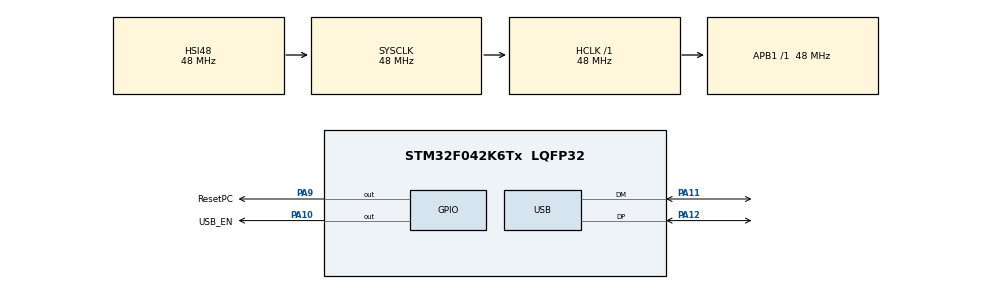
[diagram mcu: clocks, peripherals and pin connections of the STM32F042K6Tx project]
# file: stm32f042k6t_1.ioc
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Mcu.Family=STM32F0
Mcu.Name=STM32F042K6Tx
Mcu.Package=LQFP32
NVIC.USB_IRQn=true\:0\:0\:false\:false\:true
PA10.GPIO_Label=USB_EN
PA10.Signal=GPIO_Output
PA11.Mode=Device
PA11.Signal=USB_DM
PA12.Mode=Device
PA12.Signal=USB_DP
PA13.Mode=Serial_Wire
PA13.Signal=SYS_SWDIO
PA14.Mode=Serial_Wire
PA14.Signal=SYS_SWCLK
PA9.GPIO_Label=ResetPC
PA9.Signal=GPIO_Output
ProjectManager.HeapSize=0x200
ProjectManager.StackSize=0x400
ProjectManager.TargetToolchain=MDK-ARM V5
RCC.AHBFreq_Value=48000000
RCC.APB1Freq_Value=48000000
RCC.APB1TimFreq_Value=48000000
RCC.HCLKFreq_Value=48000000
RCC.SYSCLKFreq_VALUE=48000000
RCC.SYSCLKSource=RCC_SYSCLKSOURCE_HSI48
USB_DEVICE.CLASS_NAME_FS=CDC
USB_DEVICE.VirtualMode=Cdc
USB_DEVICE.VirtualModeFS=Cdc_FS
VP_USB_DEVICE_VS_USB_DEVICE_CDC_FS.Mode=CDC_FS
board=stm32f042k6t_1

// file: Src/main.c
/**
  ******************************************************************************
  * File Name          : main.c
  * Description        : Main program body
  ******************************************************************************
  * This notice applies to any and all portions of this file
  * that are not between comment pairs USER CODE BEGIN and
  * USER CODE END. Other portions of this file, whether
  * inserted by the user or by software development tools
  * are owned by their respective copyright owners.
  *
  * Copyright (c) 2018 STMicroelectronics International N.V.
  * All rights reserved.
  *
  * Redistribution and use in source and binary forms, with or without
  * modification, are permitted, provided that the following conditions are met:
  *
  * 1. Redistribution of source code must retain the above copyright notice,
  *    this list of conditions and the following disclaimer.
  * 2. Redistributions in binary form must reproduce the above copyright notice,
  *    this list of conditions and the following disclaimer in the documentation
  *    and/or other materials provided with the distribution.
  * 3. Neither the name of STMicroelectronics nor the names of other
  *    contributors to this software may be used to endorse or promote products
  *    derived from this software without specific written permission.
  * 4. This software, including modifications and/or derivative works of this
  *    software, must execute solely and exclusively on microcontroller or
  *    microprocessor devices manufactured by or for STMicroelectronics.
  * 5. Redistribution and use of this software other than as permitted under
  *    this license is void and will automatically terminate your rights under
  *    this license.
  *
  * THIS SOFTWARE IS PROVIDED BY STMICROELECTRONICS AND CONTRIBUTORS "AS IS"
  * AND ANY EXPRESS, IMPLIED OR STATUTORY WARRANTIES, INCLUDING, BUT NOT
  * LIMITED TO, THE IMPLIED WARRANTIES OF MERCHANTABILITY, FITNESS FOR A
  * PARTICULAR PURPOSE AND NON-INFRINGEMENT OF THIRD PARTY INTELLECTUAL PROPERTY
  * RIGHTS ARE DISCLAIMED TO THE FULLEST EXTENT PERMITTED BY LAW. IN NO EVENT
  * SHALL STMICROELECTRONICS OR CONTRIBUTORS BE LIABLE FOR ANY DIRECT, INDIRECT,
  * INCIDENTAL, SPECIAL, EXEMPLARY, OR CONSEQUENTIAL DAMAGES (INCLUDING, BUT NOT
  * LIMITED TO, PROCUREMENT OF SUBSTITUTE GOODS OR SERVICES; LOSS OF USE, DATA,
  * OR PROFITS; OR BUSINESS INTERRUPTION) HOWEVER CAUSED AND ON ANY THEORY OF
  * LIABILITY, WHETHER IN CONTRACT, STRICT LIABILITY, OR TORT (INCLUDING
  * NEGLIGENCE OR OTHERWISE) ARISING IN ANY WAY OUT OF THE USE OF THIS SOFTWARE,
  * EVEN IF ADVISED OF THE POSSIBILITY OF SUCH DAMAGE.
  *
  ******************************************************************************
  */
#include "main.h"
#include "stm32f0xx_hal.h"
#include "usb_device.h"

/* USER CODE BEGIN Includes */
#include "usbd_cdc_if.h"
/* USER CODE END Includes */

/* USER CODE BEGIN PV */
/* Private variables ---------------------------------------------------------*/

/* USER CODE END PV */

void SystemClock_Config(void);
static void MX_GPIO_Init(void);

/* USER CODE BEGIN PFP */
/* Private function prototypes -----------------------------------------------*/

/* USER CODE END PFP */

/* USER CODE BEGIN 0 */
extern void writeFlash( uint32_t ADDR, uint32_t F);

uint16_t TO;
uint32_t TO_TICK;
uint16_t TO_RES_LEN;
uint32_t TMBUF; // Таймер для работы с буфером и символами буфера.

uint8_t iRX, iTX;
uint8_t BUF_TX[32];
uint8_t BUF_RX[32];
uint8_t diag;
//Test

/* CDC_Transmit_FS(T, 10); Передача по виртуальному порту
В usb_cdc_if.c меняем static int8_t CDC_Receive_FS (uint8_t* Buf, uint32_t *Len)

*/

/* USER CODE END 0 */

int main(void)
{

  /* USER CODE BEGIN 1 */
  diag = 0;
  /* USER CODE END 1 */

  /* MCU Configuration----------------------------------------------------------*/

  /* Reset of all peripherals, Initializes the Flash interface and the Systick. */
  HAL_Init();

  /* Configure the system clock */
  SystemClock_Config();

  /* Initialize all configured peripherals */
  MX_GPIO_Init();
  MX_USB_DEVICE_Init();

  /* USER CODE BEGIN 2 */

  iRX = 0;
	iTX = 0;

	TO_TICK = 0; 			//TO_TICK = 0xffffffff; Основной таймер
	TO_RES_LEN = 0; 	//TO_RES_LEN = 0xffff;  Таймер длительности импульса сброса вывода Ресет
	TO = 0;						//TO = 0xff;						Установочное время таймера сброса. Берётся из принятых пакетов.
	TMBUF = 0;				//TMBUF = 0xffffffff;   Время аварийного сброса принятого буфера. Срабатывает принудительно.

	HAL_GPIO_WritePin(USB_EN_GPIO_Port, USB_EN_Pin, GPIO_PIN_SET);
	HAL_GPIO_WritePin(ResetPC_GPIO_Port, ResetPC_Pin, GPIO_PIN_RESET);

	/* USER CODE END 2 */

  /* Infinite loop */
  while (1)
  {
//	uint8_t T[10]="TEST USB !";
//  CDC_Transmit_FS(T, 10);
//		HAL_Delay(5000);
  }

}

/** System Clock Configuration
*/
void SystemClock_Config(void)
{

  RCC_OscInitTypeDef RCC_OscInitStruct;
  RCC_ClkInitTypeDef RCC_ClkInitStruct;
  RCC_PeriphCLKInitTypeDef PeriphClkInit;

    /**Initializes the CPU, AHB and APB busses clocks
    */
  RCC_OscInitStruct.OscillatorType = RCC_OSCILLATORTYPE_HSI48;
  RCC_OscInitStruct.HSI48State = RCC_HSI48_ON;
  RCC_OscInitStruct.PLL.PLLState = RCC_PLL_NONE;
  if (HAL_RCC_OscConfig(&RCC_OscInitStruct) != HAL_OK)
  {
    _Error_Handler(__FILE__, __LINE__);
  }

    /**Initializes the CPU, AHB and APB busses clocks
    */
  RCC_ClkInitStruct.ClockType = RCC_CLOCKTYPE_HCLK|RCC_CLOCKTYPE_SYSCLK
                              |RCC_CLOCKTYPE_PCLK1;
  RCC_ClkInitStruct.SYSCLKSource = RCC_SYSCLKSOURCE_HSI48;
  RCC_ClkInitStruct.AHBCLKDivider = RCC_SYSCLK_DIV1;
  RCC_ClkInitStruct.APB1CLKDivider = RCC_HCLK_DIV1;

  if (HAL_RCC_ClockConfig(&RCC_ClkInitStruct, FLASH_LATENCY_1) != HAL_OK)
  {
    _Error_Handler(__FILE__, __LINE__);
  }

  PeriphClkInit.PeriphClockSelection = RCC_PERIPHCLK_USB;
  PeriphClkInit.UsbClockSelection = RCC_USBCLKSOURCE_HSI48;

  if (HAL_RCCEx_PeriphCLKConfig(&PeriphClkInit) != HAL_OK)
  {
    _Error_Handler(__FILE__, __LINE__);
  }

    /**Configure the Systick interrupt time
    */
  HAL_SYSTICK_Config(HAL_RCC_GetHCLKFreq()/1000);

    /**Configure the Systick
    */
  HAL_SYSTICK_CLKSourceConfig(SYSTICK_CLKSOURCE_HCLK);

  /* SysTick_IRQn interrupt configuration */
  HAL_NVIC_SetPriority(SysTick_IRQn, 0, 0);
}

/** Configure pins as
        * Analog
        * Input
        * Output
        * EVENT_OUT
        * EXTI
*/
static void MX_GPIO_Init(void)
{

  GPIO_InitTypeDef GPIO_InitStruct;

  /* GPIO Ports Clock Enable */
  __HAL_RCC_GPIOA_CLK_ENABLE();

  /*Configure GPIO pin Output Level */
  HAL_GPIO_WritePin(GPIOA, ResetPC_Pin|USB_EN_Pin, GPIO_PIN_RESET);

  /*Configure GPIO pins : ResetPC_Pin USB_EN_Pin */
  GPIO_InitStruct.Pin = ResetPC_Pin|USB_EN_Pin;
  GPIO_InitStruct.Mode = GPIO_MODE_OUTPUT_PP;
  GPIO_InitStruct.Pull = GPIO_NOPULL;
  GPIO_InitStruct.Speed = GPIO_SPEED_FREQ_LOW;
  HAL_GPIO_Init(GPIOA, &GPIO_InitStruct);

}

void _Error_Handler(char * file, int line)
{
  while(1)
  {
  }
}

/************************ (C) COPYRIGHT STMicroelectronics *****END OF FILE****/
